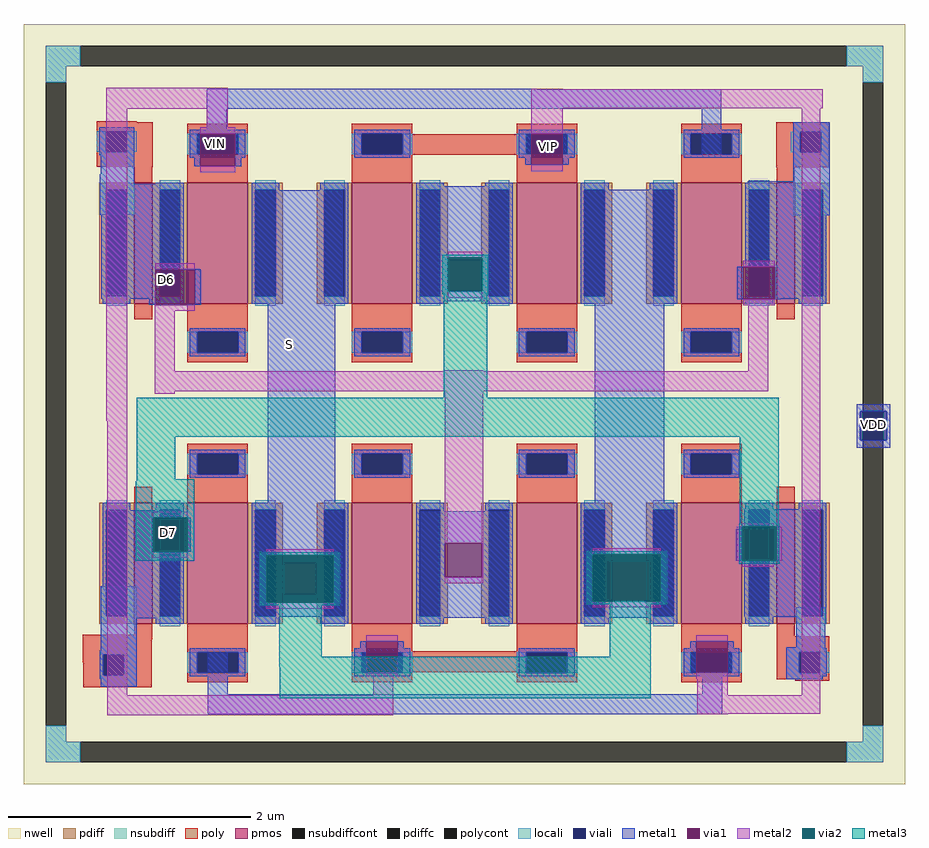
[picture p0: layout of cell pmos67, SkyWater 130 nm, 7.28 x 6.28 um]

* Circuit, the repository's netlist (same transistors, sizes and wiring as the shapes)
** sch_path: /home/chandra_hartono/project/opamp/mag/pmos67.sch
.subckt pmos67 VIP VIN VDD D6 D7 S
*.PININFO VIP:I VIN:I VDD:B D6:B D7:B S:B
XM6 D6 VIN S VDD sky130_fd_pr__pfet_01v8 L=0.5 W=1 nf=1 m=4
XM7 D7 VIP S VDD sky130_fd_pr__pfet_01v8 L=0.5 W=1 nf=1 m=4
XM1 D6 D6 D6 VDD sky130_fd_pr__pfet_01v8 L=0.15 W=1 nf=1 m=2
XM2 D7 D7 D7 VDD sky130_fd_pr__pfet_01v8 L=0.15 W=1 nf=1 m=2
.ends
.end

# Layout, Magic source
magic
tech sky130A
magscale 1 2
<< nwell >>
rect -176 -694 1280 562
<< nsubdiff >>
rect -140 492 -83 526
rect 1184 492 1244 526
rect -140 466 -106 492
rect 1210 466 1244 492
rect -140 -624 -106 -598
rect 1210 -624 1244 -598
rect -140 -658 -83 -624
rect 1184 -658 1244 -624
<< nsubdiffcont >>
rect -83 492 1184 526
rect -140 -598 -106 466
rect 1210 -598 1244 466
rect -83 -658 1184 -624
<< poly >>
rect -56 400 10 401
rect -56 385 37 400
rect -56 351 -40 385
rect -6 351 37 385
rect 1067 384 1154 400
rect -56 326 37 351
rect 382 346 721 380
rect 1067 350 1107 384
rect 1141 350 1154 384
rect 1067 325 1154 350
rect -79 -480 35 -447
rect -79 -493 -45 -480
rect -78 -514 -45 -493
rect -11 -514 35 -480
rect 382 -509 722 -475
rect 1068 -476 1155 -450
rect -78 -534 35 -514
rect 1068 -510 1105 -476
rect 1139 -510 1155 -476
rect 1068 -521 1155 -510
rect 1099 -523 1155 -521
<< polycont >>
rect -40 351 -6 385
rect 1107 350 1141 384
rect -45 -514 -11 -480
rect 1105 -510 1139 -476
<< locali >>
rect -140 492 -83 526
rect 1184 492 1244 526
rect -140 466 -106 492
rect 1210 466 1244 492
rect -56 351 -40 385
rect -6 351 10 385
rect 1095 384 1156 400
rect -49 314 6 351
rect 1091 350 1107 384
rect 1141 350 1156 384
rect -51 247 6 314
rect 1095 246 1156 350
rect -49 -370 9 -367
rect -49 -480 10 -370
rect 1100 -468 1148 -402
rect -51 -514 -45 -480
rect -11 -514 10 -480
rect -49 -533 10 -514
rect 1084 -476 1148 -468
rect 1084 -510 1105 -476
rect 1139 -510 1155 -476
rect 1084 -512 1148 -510
rect 1084 -521 1144 -512
rect -140 -624 -106 -598
rect 1210 -624 1244 -598
rect -140 -658 -83 -624
rect 1184 -658 1244 -624
<< viali >>
rect -40 351 -6 385
rect 1107 350 1141 384
rect 1206 -126 1210 -78
rect 1210 -126 1244 -78
rect 1244 -126 1250 -78
rect -45 -514 -11 -480
rect 1105 -510 1139 -476
<< metal1 >>
rect 126 454 671 455
rect 126 422 976 454
rect -52 385 6 391
rect -52 351 -40 385
rect -6 351 6 385
rect 126 381 159 422
rect -52 345 6 351
rect -49 314 6 345
rect 105 327 115 381
rect 173 327 183 381
rect 652 329 662 381
rect 714 329 724 381
rect 944 347 976 422
rect 1095 384 1156 400
rect 1095 350 1107 384
rect 1141 350 1156 384
rect -51 298 6 314
rect 1095 302 1156 350
rect -51 247 82 298
rect -48 157 82 247
rect -48 108 41 157
rect 31 98 41 108
rect 106 98 116 157
rect 205 111 351 287
rect 475 172 627 294
rect 475 120 527 172
rect 579 120 627 172
rect 227 -242 338 111
rect 475 104 627 120
rect 751 112 898 288
rect 1020 246 1156 302
rect 1020 161 1142 246
rect 767 -241 882 112
rect 1003 107 1013 161
rect 1065 108 1142 161
rect 1065 107 1075 108
rect 1200 -78 1256 -66
rect 1200 -126 1206 -78
rect 1250 -126 1256 -78
rect 1200 -138 1256 -126
rect -42 -254 84 -242
rect -42 -310 38 -254
rect 90 -310 100 -254
rect -42 -367 84 -310
rect -49 -420 84 -367
rect 206 -328 352 -242
rect 206 -380 254 -328
rect 306 -380 352 -328
rect 206 -418 352 -380
rect 480 -296 627 -243
rect 480 -352 519 -296
rect 581 -352 627 -296
rect 480 -419 627 -352
rect 750 -326 897 -241
rect 1014 -273 1140 -240
rect 1001 -325 1011 -273
rect 1063 -325 1140 -273
rect 750 -390 788 -326
rect 858 -390 897 -326
rect 750 -419 897 -390
rect 1014 -402 1140 -325
rect 1014 -418 1148 -402
rect -49 -474 10 -420
rect -51 -480 10 -474
rect -51 -514 -45 -480
rect -11 -514 10 -480
rect -51 -520 10 -514
rect -49 -533 10 -520
rect 128 -546 161 -476
rect 380 -510 390 -458
rect 442 -510 452 -458
rect 925 -510 935 -458
rect 987 -510 997 -458
rect 1100 -468 1148 -418
rect 1084 -470 1148 -468
rect 1084 -476 1151 -470
rect 1084 -510 1105 -476
rect 1139 -510 1151 -476
rect 945 -546 978 -510
rect 1084 -516 1151 -510
rect 1084 -521 1144 -516
rect 128 -579 978 -546
<< via1 >>
rect 115 327 173 381
rect 662 329 714 381
rect 41 98 106 157
rect 527 120 579 172
rect 1013 107 1065 161
rect 38 -310 90 -254
rect 254 -380 306 -328
rect 519 -352 581 -296
rect 1011 -325 1063 -273
rect 788 -390 858 -326
rect 390 -510 442 -458
rect 935 -510 987 -458
<< metal2 >>
rect -40 422 161 457
rect -40 -94 -5 422
rect 126 391 161 422
rect 662 454 714 455
rect 662 423 1144 454
rect 115 381 173 391
rect 115 317 173 327
rect 662 381 714 423
rect 662 319 714 329
rect 525 176 581 186
rect 41 157 106 167
rect 40 98 41 121
rect 525 110 581 120
rect 1013 161 1065 171
rect 40 88 106 98
rect 1013 97 1065 107
rect 40 -12 73 88
rect 519 -12 583 -10
rect 1021 -12 1054 97
rect 40 -45 1054 -12
rect 40 -49 73 -45
rect -38 -547 -5 -94
rect 38 -254 94 -244
rect 519 -296 583 -45
rect 1011 -269 1063 -263
rect 38 -320 94 -310
rect 224 -316 336 -306
rect 581 -352 583 -296
rect 519 -361 583 -352
rect 764 -314 876 -304
rect 1002 -325 1011 -269
rect 1067 -325 1076 -269
rect 519 -362 581 -361
rect 224 -404 336 -394
rect 1011 -335 1063 -325
rect 764 -402 876 -392
rect 390 -458 442 -448
rect 390 -516 442 -510
rect 935 -458 987 -448
rect 401 -547 434 -516
rect 935 -520 987 -510
rect -38 -580 434 -547
rect 937 -547 987 -520
rect 1109 -547 1140 423
rect 937 -578 1140 -547
rect 937 -579 987 -578
<< via2 >>
rect 525 172 581 176
rect 525 120 527 172
rect 527 120 579 172
rect 579 120 581 172
rect 38 -310 90 -254
rect 90 -310 94 -254
rect 224 -328 336 -316
rect 224 -380 254 -328
rect 254 -380 306 -328
rect 306 -380 336 -328
rect 764 -326 876 -314
rect 1011 -273 1067 -269
rect 1011 -325 1063 -273
rect 1063 -325 1067 -273
rect 224 -394 336 -380
rect 764 -390 788 -326
rect 788 -390 858 -326
rect 858 -390 876 -326
rect 764 -392 876 -390
<< metal3 >>
rect 515 176 591 181
rect 515 120 525 176
rect 581 120 591 176
rect 515 115 591 120
rect 518 -56 590 115
rect 10 -120 1071 -56
rect 10 -190 74 -120
rect 10 -194 105 -190
rect 9 -254 105 -194
rect 9 -310 38 -254
rect 94 -310 105 -254
rect 1007 -264 1071 -120
rect 1006 -269 1072 -264
rect 9 -325 105 -310
rect 214 -316 346 -311
rect 214 -394 224 -316
rect 336 -394 346 -316
rect 214 -399 346 -394
rect 754 -314 886 -309
rect 754 -392 764 -314
rect 876 -392 886 -314
rect 1006 -325 1011 -269
rect 1067 -325 1072 -269
rect 1006 -330 1072 -325
rect 754 -397 886 -392
rect 246 -484 316 -399
rect 792 -484 860 -397
rect 246 -500 860 -484
rect 247 -552 860 -500
use sky130_fd_pr__pfet_01v8_2XUZHN  sky130_fd_pr__pfet_01v8_2XUZHN_0
transform 1 0 1083 0 1 200
box -109 -162 109 162
use sky130_fd_pr__pfet_01v8_2XUZHN  sky130_fd_pr__pfet_01v8_2XUZHN_1
transform 1 0 21 0 1 200
box -109 -162 109 162
use sky130_fd_pr__pfet_01v8_2XUZHN  sky130_fd_pr__pfet_01v8_2XUZHN_2
transform 1 0 21 0 1 -329
box -109 -162 109 162
use sky130_fd_pr__pfet_01v8_2XUZHN  sky130_fd_pr__pfet_01v8_2XUZHN_3
transform 1 0 1083 0 1 -329
box -109 -162 109 162
use sky130_fd_pr__pfet_01v8_BH5GQ5  sky130_fd_pr__pfet_01v8_BH5GQ5_1
transform 1 0 552 0 1 -329
box -552 -200 552 200
use sky130_fd_pr__pfet_01v8_BH5GQ5  sky130_fd_pr__pfet_01v8_BH5GQ5_2
transform 1 0 552 0 1 200
box -552 -200 552 200
<< labels >>
flabel viali 1228 -100 1228 -100 0 FreeSans 160 0 0 0 VDD
port 0 nsew
flabel via1 690 360 690 360 0 FreeSans 160 0 0 0 VIP
port 1 nsew
flabel via1 140 364 140 364 0 FreeSans 160 0 0 0 VIN
port 2 nsew
flabel via1 60 140 60 140 0 FreeSans 160 0 0 0 D6
port 3 nsew
flabel via2 62 -278 62 -278 0 FreeSans 160 0 0 0 D7
port 4 nsew
flabel metal1 262 32 262 32 0 FreeSans 1600 0 0 0 S
port 5 nsew
<< end >>

# cell sky130_fd_pr__pfet_01v8_2XUZHN: kit device sky130_fd_pr__pfet_01v8, w 1 l 0.15 m 1 nf 1 diffcov 100 polycov 100 guard 0 glc 1 grc 1 gtc 1 gbc 1 tbcov 100 rlcov 100 topc 0 botc 0 poverlap 0 doverlap 1 lmin 0.15 wmin 0.42 compatible {sky130_fd_pr__pfet_01v8 sky130_fd_pr__pfet_01v8_lvt sky130_fd_pr__pfet_01v8_hvt sky130_fd_pr__pfet_g5v0d10v5} full_metal 1 viasrc 100 viadrn 100 viagate 100 viagb 0 viagr 0 viagl 0 viagt 0

# cell sky130_fd_pr__pfet_01v8_BH5GQ5: kit device sky130_fd_pr__pfet_01v8, w 1 l 0.5 m 1 nf 4 diffcov 100 polycov 100 guard 0 glc 1 grc 1 gtc 1 gbc 1 tbcov 100 rlcov 100 topc 1 botc 1 poverlap 0 doverlap 0 lmin 0.15 wmin 0.42 compatible {sky130_fd_pr__pfet_01v8 sky130_fd_pr__pfet_01v8_lvt sky130_fd_pr__pfet_01v8_hvt sky130_fd_pr__pfet_g5v0d10v5} full_metal 1 viasrc 100 viadrn 100 viagate 100 viagb 0 viagr 0 viagl 0 viagt 0
